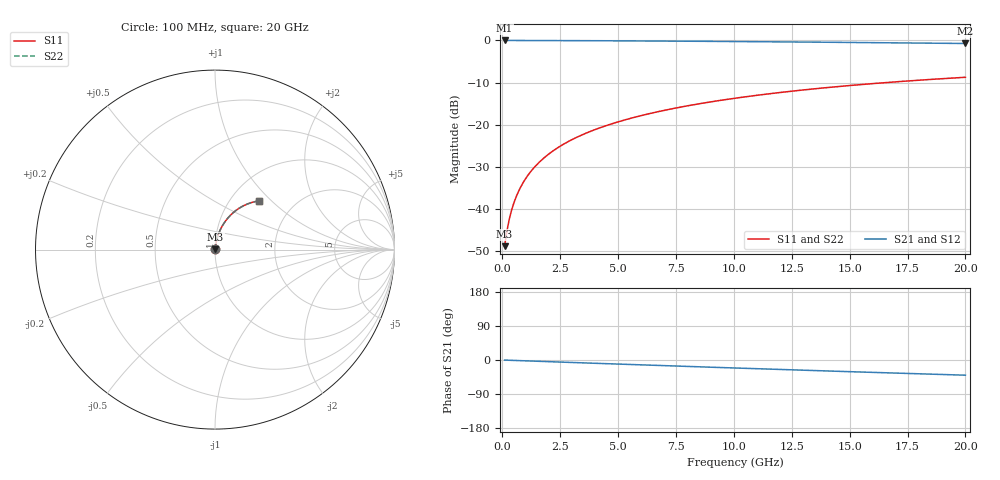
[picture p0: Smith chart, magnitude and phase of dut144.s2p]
! Touchstone file exported from HFSS 2026.1.0
!  File:  C:/ffzhzh/LocalFiles/Ansys_Project_Files/temp_train_BSMRDL_144_1782986440_42984.aedt
!  Generated:  06:02:12 PM Jul  2, 2026
!  Design:  BSMRDL
!  Project:  temp_train_BSMRDL_144_1782986440_42984
! Variables:
!  h_bsmrdl = 5.98um
!  h_ox = 20um
!  h_rdl = 5um
!  h_sub = 80um
!  h_tmrdl = 5um
!  h_tsv = 80um
!  h_via = 3um
!  l_bsmrdl = 608.5um
!  l_sub = 1008.5um
!  l_tmrdl = 200um
!  m_sub = 200um
!  pitch = 36.13um
!  r_tsv = 6um
!  s_tmrdl = 10um
!  w_bsmrdl = 13.4um
!  w_sub = 500um
!  w_tmrdl = 12um
!  x_tsv_center1 = 206um
!  x_tsv_center2 = 827.9um
!  x_tsv_center3 = 1039.9um
!  x_tsv_center4 = 1661.8um
!  x_tsv_center5 = 1873.8um
!  x_tsv_center6 = 2495.7um
# GHz S MA R 50.000000
! Terminal data exported
! Port[1] = BSM_RDL1_1_T1
! Port[2] = BSM_RDL1_1_T2
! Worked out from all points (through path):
!   200 points, 100 MHz to 20 GHz, reference 50 ohm
!   highest |S21| = -0.02 dB at 100 MHz (marker M1); lowest = -0.7 dB at 20 GHz (marker M2)
!   group delay of S21, straight-line fit = 5.56 ps
!   lowest |S11| = -48.7 dB at 100 MHz (marker M3), VSWR 1.01, Z = 50.3 + j0.239 ohm
!   |S11| at or under -10 dB: start of sweep to 16.57 GHz
!   |S22| runs from -48.7 to -8.7 dB; largest |S21 - S12| = 2.5e-15
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0.1  0.003652 40.6  0.9972 -0.2  0.9972 -0.2  0.003652 40.6
! Gamma 0 0 0 0
! Port Impedance 50 0 50 0
0.2  0.005515 58.3  0.9971 -0.5  0.9971 -0.5  0.005515 58.3
0.3  0.007584 66.4  0.997 -0.7  0.997 -0.7  0.007584 66.4
0.4  0.009712 70.9  0.9969 -0.9  0.9969 -0.9  0.009712 70.9
0.5  0.01187 73.7  0.9968 -1.1  0.9968 -1.1  0.01187 73.7
0.6  0.01405 75.7  0.9968 -1.3  0.9968 -1.3  0.01405 75.7
0.8  0.01845 78.0  0.9966 -1.8  0.9966 -1.8  0.01845 78.0
1.1  0.02508 79.7  0.9963 -2.4  0.9963 -2.4  0.02508 79.7
1.5  0.03392 80.4  0.9957 -3.3  0.9957 -3.3  0.03392 80.4
1.8  0.04052 80.5  0.9953 -4.0  0.9953 -4.0  0.04052 80.5
2.1  0.04709 80.3  0.9947 -4.6  0.9947 -4.6  0.04709 80.3
2.7  0.0601 79.6  0.9935 -5.9  0.9935 -5.9  0.0601 79.6
3.5  0.07715 78.3  0.9916 -7.6  0.9916 -7.6  0.07715 78.3
4.2  0.09181 77.1  0.9897 -9.1  0.9897 -9.1  0.09182 77.1
5  0.1083 75.6  0.9873 -10.8  0.9873 -10.8  0.1083 75.6
5.9  0.1265 73.9  0.9845 -12.6  0.9845 -12.6  0.1265 73.9
6.8  0.1444 72.3  0.9814 -14.5  0.9814 -14.5  0.1444 72.2
8.3  0.1735 69.4  0.9758 -17.6  0.9758 -17.6  0.1735 69.4
10.1  0.2073 66.1  0.9684 -21.2  0.9684 -21.2  0.2073 66.0
13.4  0.2654 59.9  0.953 -27.7  0.953 -27.7  0.2654 59.9
16.7  0.3182 53.8  0.936 -34.0  0.936 -34.0  0.3182 53.8
20  0.3653 48.0  0.9183 -40.1  0.9183 -40.1  0.3653 47.9
